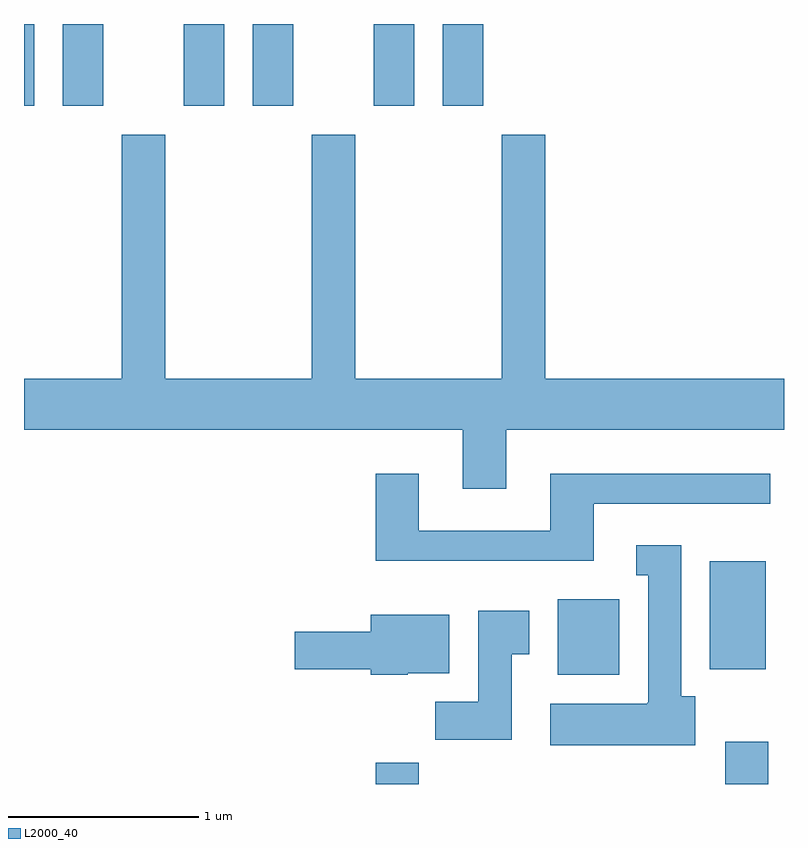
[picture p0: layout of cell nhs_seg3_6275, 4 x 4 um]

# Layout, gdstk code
import gdstk
lib = gdstk.Library(unit=1e-6, precision=1e-09)
def R(c, l, rs):  # rectangles x0, y0, x1, y1
    for r in rs: c.add(gdstk.rectangle(r[:2], r[2:], *l))
def P(c, l, *ps):  # polygons
    for p in ps: c.add(gdstk.Polygon(p, *l))
L2000_40 = (2000, 40)

nhs_seg3_6275 = lib.new_cell('nhs_seg3_6275')
R(nhs_seg3_6275, L2000_40, [(371.461,1161.892,371.689,1162.004), (373.301,1161.892,373.529,1162.114), (372.421,1162.466,372.744,1162.864), (373.221,1162.496,373.514,1163.064), (369.611,1165.461,369.664,1165.892), (369.816,1165.461,370.029,1165.892), (370.451,1165.461,370.664,1165.892), (370.816,1165.461,371.029,1165.892), (371.451,1165.461,371.664,1165.892), (371.816,1165.461,372.029,1165.892)])
P(nhs_seg3_6275, L2000_40, [(372.149,1163.756),(373.611,1163.756),(373.611,1164.024),(372.354,1164.024),(372.354,1165.309),(372.126,1165.309),(372.126,1164.024),(371.354,1164.024),(371.354,1165.309),(371.126,1165.309),(371.126,1164.024),(370.354,1164.024),(370.354,1165.309),(370.126,1165.309),(370.126,1164.024),(369.611,1164.024),(369.611,1163.756),(371.921,1163.756),(371.921,1163.446),(372.149,1163.446)],
  [(372.609,1163.366),(373.538,1163.366),(373.538,1163.524),(372.381,1163.524),(372.381,1163.224),(371.689,1163.224),(371.689,1163.524),(371.461,1163.524),(371.461,1163.066),(372.609,1163.066)],
  [(373.144,1162.354),(373.069,1162.354),(373.069,1163.149),(372.833,1163.149),(372.833,1162.991),(372.896,1162.991),(372.896,1162.32),(372.89,1162.32),(372.89,1162.314),(372.381,1162.314),(372.381,1162.096),(373.144,1162.096)],
  [(372.179,1162.576),(372.269,1162.576),(372.269,1162.804),(372.001,1162.804),(372.001,1162.324),(371.776,1162.324),(371.776,1162.126),(372.179,1162.126)],
  [(371.63,1162.476),(371.849,1162.476),(371.849,1162.784),(371.436,1162.784),(371.436,1162.694),(371.036,1162.694),(371.036,1162.496),(371.436,1162.496),(371.436,1162.466),(371.63,1162.466)])

lib.write_gds('nhs_seg3_6275.gds')
